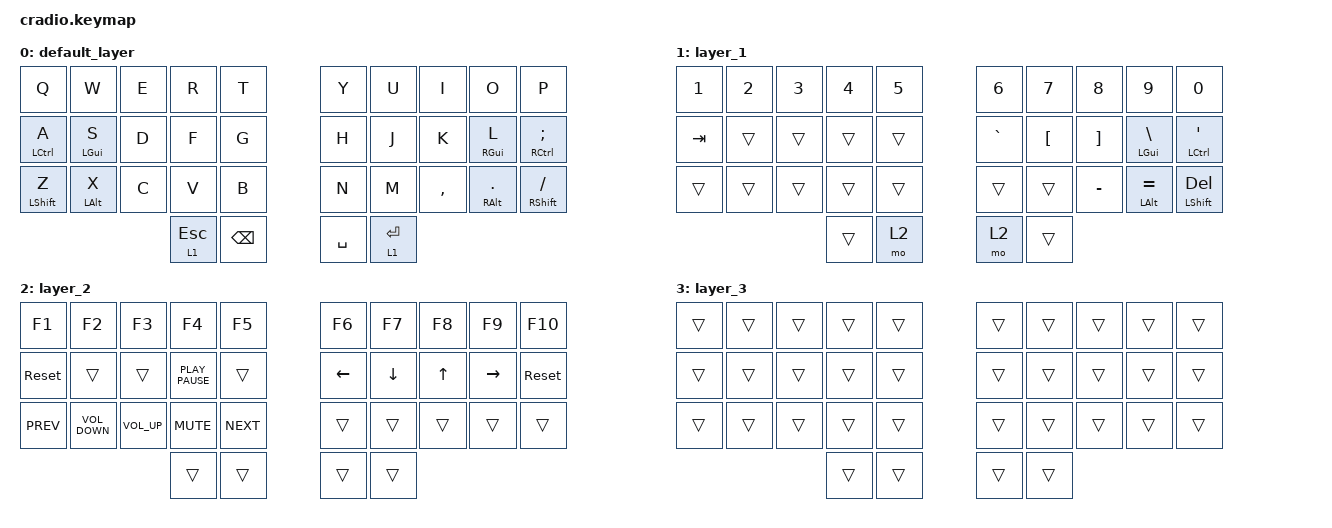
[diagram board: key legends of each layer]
/*
 * Copyright (c) 2020 The ZMK Contributors
 *
 * SPDX-License-Identifier: MIT
 */

#include <behaviors.dtsi>
#include <dt-bindings/zmk/keys.h>

&mt {
    //  flavor = "tap-preferred";
    // tapping_term_ms = <200>;

    tapping-term-ms = <200>;
    flavor = "tap-preferred";
};

/ {
    combos { compatible = "zmk,combos"; };

    keymap {
        compatible = "zmk,keymap";

        default_layer {
            bindings = <
&kp Q               &kp W           &kp E  &kp R         &kp T            &kp Y      &kp U        &kp I      &kp O                 &kp P
&mt LEFT_CONTROL A  &mt LEFT_GUI S  &kp D  &kp F         &kp G            &kp H      &kp J        &kp K      &mt RIGHT_GUI L       &mt RIGHT_CONTROL SEMICOLON
&mt LEFT_SHIFT Z    &mt LEFT_ALT X  &kp C  &kp V         &kp B            &kp N      &kp M        &kp COMMA  &mt RIGHT_ALT PERIOD  &mt RIGHT_SHIFT SLASH
                                           &lt 1 ESCAPE  &kp BACKSPACE    &kp SPACE  &lt 1 ENTER
            >;
        };

        layer_1 {
            bindings = <
&kp NUMBER_1  &kp NUMBER_2  &kp NUMBER_3  &kp NUMBER_4  &kp NUMBER_5    &kp NUMBER_6  &kp NUMBER_7      &kp NUMBER_8       &kp NUMBER_9            &kp NUMBER_0
&kp TAB       &trans        &trans        &trans        &trans          &kp GRAVE     &kp LEFT_BRACKET  &kp RIGHT_BRACKET  &mt LEFT_GUI BACKSLASH  &mt LEFT_CONTROL SQT
&trans        &trans        &trans        &trans        &trans          &trans        &trans            &kp MINUS          &mt LEFT_ALT EQUAL      &mt LEFT_SHIFT DELETE
                                          &trans        &mo 2           &mo 2         &trans
            >;
        };

        layer_2 {
            bindings = <
&kp F1      &kp F2             &kp F3           &kp F4            &kp F5        &kp F6    &kp F7    &kp F8  &kp F9     &kp F10
&sys_reset  &trans             &trans           &kp K_PLAY_PAUSE  &trans        &kp LEFT  &kp DOWN  &kp UP  &kp RIGHT  &sys_reset
&kp C_PREV  &kp C_VOLUME_DOWN  &kp C_VOLUME_UP  &kp K_MUTE        &kp C_NEXT    &trans    &trans    &trans  &trans     &trans
                                                &trans            &trans        &trans    &trans
            >;
        };

        layer_3 {
            bindings = <
&trans  &trans  &trans  &trans  &trans    &trans  &trans  &trans  &trans  &trans
&trans  &trans  &trans  &trans  &trans    &trans  &trans  &trans  &trans  &trans
&trans  &trans  &trans  &trans  &trans    &trans  &trans  &trans  &trans  &trans
                        &trans  &trans    &trans  &trans
            >;
        };
    };
};
